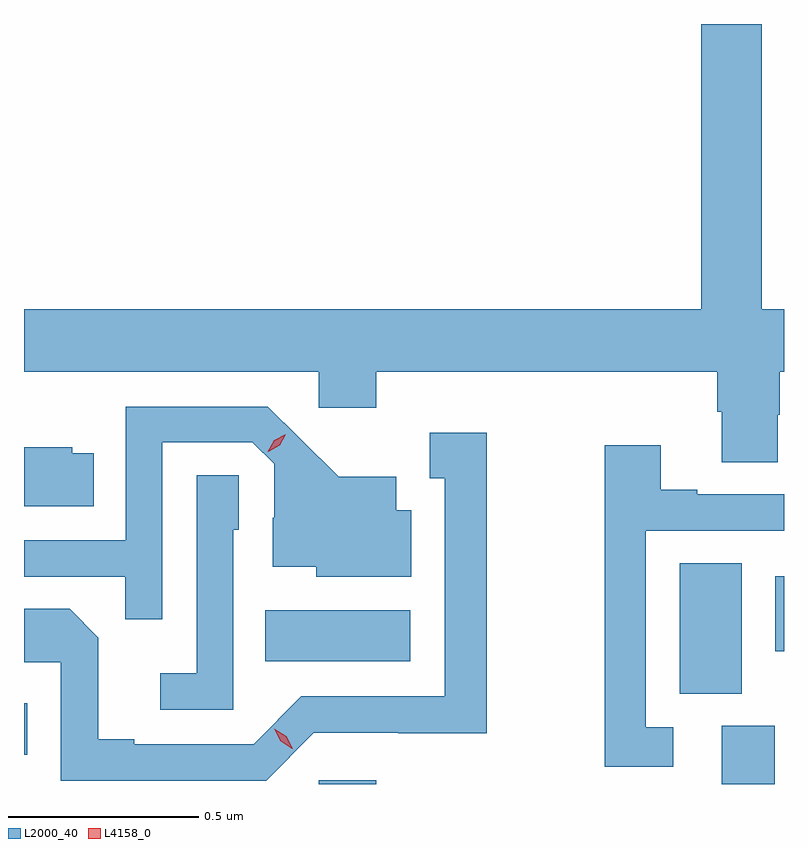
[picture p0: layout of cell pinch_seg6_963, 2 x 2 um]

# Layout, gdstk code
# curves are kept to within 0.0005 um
import gdstk
lib = gdstk.Library(unit=1e-6, precision=1e-09)
def R(c, l, rs):  # rectangles x0, y0, x1, y1
    for r in rs: c.add(gdstk.rectangle(r[:2], r[2:], *l))
def P(c, l, *ps):  # polygons
    for p in ps: c.add(gdstk.Polygon(p, *l))
L2000_40 = (2000, 40)
L4158_0 = (4158, 0)

pinch_seg6_963 = lib.new_cell('pinch_seg6_963')
R(pinch_seg6_963, L2000_40, [(329.982,934.263,330.134,934.273), (331.043,934.263,331.183,934.416), (329.207,934.34,329.215,934.476), (330.932,934.501,331.096,934.844), (329.842,934.586,330.223,934.72), (331.184,934.613,331.207,934.81)])
P(pinch_seg6_963, L2000_40, [(331.191,935.235),(331.196,935.235),(331.196,935.348),(331.207,935.348),(331.207,935.512),(331.149,935.512),(331.149,936.263),(330.989,936.263),(330.989,935.512),(329.207,935.512),(329.207,935.348),(329.982,935.348),(329.982,935.253),(330.134,935.253),(330.134,935.348),(331.031,935.348),(331.031,935.242),(331.043,935.242),(331.043,935.11),(331.191,935.11)],
  [(329.571,935.163),(329.808,935.163),(329.865,935.106),(329.865,934.964),(329.861,934.964),(329.861,934.835),(329.976,934.835),(329.976,934.808),(330.226,934.808),(330.226,934.984),(330.187,934.984),(330.187,935.071),(330.035,935.071),(329.848,935.256),(329.475,935.256),(329.475,934.905),(329.207,934.905),(329.207,934.809),(329.473,934.809),(329.473,934.696),(329.571,934.696)],
  [(329.97,934.398),(330.192,934.398),(330.192,934.397),(330.425,934.397),(330.425,935.188),(330.275,935.188),(330.275,935.067),(330.314,935.067),(330.314,934.494),(329.937,934.494),(329.811,934.368),(329.497,934.368),(329.497,934.381),(329.403,934.381),(329.403,934.648),(329.327,934.724),(329.207,934.724),(329.207,934.584),(329.304,934.584),(329.304,934.272),(329.844,934.272)],
  [(330.916,934.413),(330.843,934.413),(330.843,934.929),(331.207,934.929),(331.207,935.025),(330.979,935.025),(330.979,935.038),(330.883,935.038),(330.883,935.155),(330.735,935.155),(330.735,934.308),(330.916,934.308)],
  [(329.39,935.134),(329.334,935.134),(329.334,935.149),(329.207,935.149),(329.207,934.994),(329.39,934.994)],
  [(329.757,934.932),(329.772,934.932),(329.772,935.075),(329.661,935.075),(329.661,934.555),(329.565,934.555),(329.565,934.458),(329.757,934.458)])
P(pinch_seg6_963, L4158_0, [(329.913,934.356),(329.882,934.375),(329.865,934.408),(329.865,934.408),(329.865,934.408),(329.897,934.389),(329.914,934.356),(329.914,934.356)],
  [(329.849,935.138),(329.849,935.138),(329.866,935.168),(329.896,935.184),(329.896,935.184),(329.896,935.184),(329.88,935.154),(329.85,935.138)])

lib.write_gds('pinch_seg6_963.gds')
